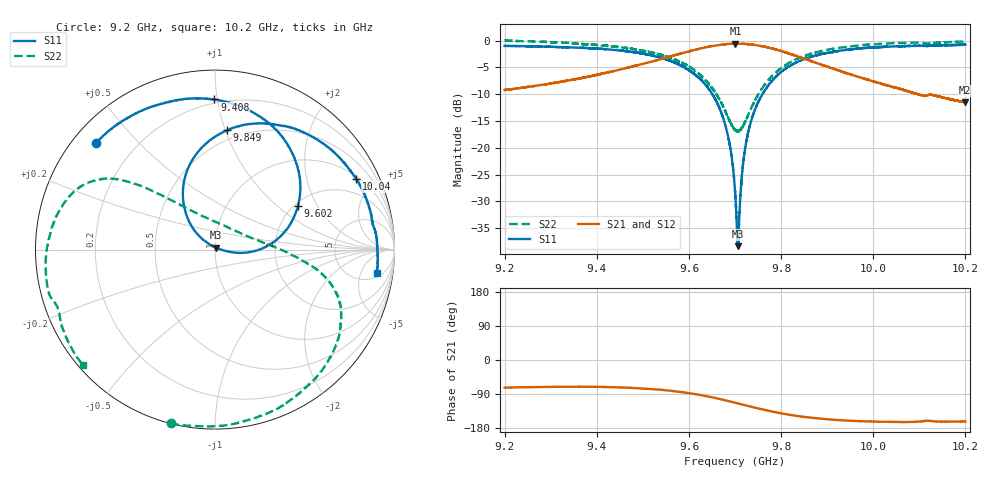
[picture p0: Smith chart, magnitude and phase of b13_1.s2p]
!Agilent Technologies,N5242A,MY51221714,A.09.90.19
!Agilent N5242A: A.09.90.19
!Date: Tuesday, March 26, 2024 16:48:23
!Correction: S11(Full 2 Port(1,2))
!S21(Full 2 Port(1,2))
!S12(Full 2 Port(1,2))
!S22(Full 2 Port(1,2))
!S2P File: Measurements: S11, S21, S12, S22:
# Hz S  dB  R 50
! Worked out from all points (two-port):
!   16001 points, 9.2 GHz to 10.2 GHz, reference 50 ohm
!   highest |S21| = -0.57 dB at 9.701 GHz (marker M1); lowest = -11.5 dB at 10.2 GHz (marker M2)
!   |S21| within 3 dB of the highest: 9.534092 GHz to 9.53417 GHz (78.29 kHz wide, 0.000821 % of centre); 9.534 GHz to 9.857 GHz (322.4 MHz wide, 3.32 % of centre)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
!   lowest |S11| = -38.4 dB at 9.706 GHz (marker M3), VSWR 1.02, Z = 50.4 + j1.13 ohm
!   |S11| at or under -10 dB: 9.650685 GHz to 9.650772 GHz (87.65 kHz wide, 0.000908 % of centre); 9.651 GHz to 9.76 GHz (108.7 MHz wide, 1.12 % of centre)
!   |S22| runs from -17.0 to 0.0 dB; largest |S21 - S12| = 0.012
!   S11 on the Smith chart (normalised r, x): 9.2 GHz: 0.07, +0.38; 9.408 GHz: 0.18, +0.98; 9.602 GHz: 2.09, +1.40; 9.849 GHz: 0.42, +1.01; 10.04 GHz: 1.14, +3.92; 10.2 GHz: 6, -10
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9.2e9  -1.01 138.1  -9.23 -73.0  -9.21 -73.7  -0.01 -104.3
9.277188e9  -1.13 121.4  -8.31 -71.2  -8.31 -71.8  -0.21 -83.3
9.366688e9  -1.36 100.7  -7.00 -70.6  -6.99 -71.2  -0.65 -60.0
9.408375e9  -1.55 90.2  -6.24 -71.1  -6.23 -71.8  -0.90 -49.6
9.533375e9  -3.10 53.5  -3.60 -78.0  -3.59 -78.6  -2.52 -22.2
9.602e9  -5.64 27.7  -1.98 -87.8  -1.98 -88.4  -4.94 -10.5
9.64275e9  -8.99 9.9  -1.15 -96.6  -1.16 -97.2  -8.07 -1.9
9.670812e9  -13.61 -2.9  -0.77 -104.0  -0.76 -104.6  -11.73 9.8
9.689438e9  -19.84 -8.6  -0.61 -109.5  -0.61 -110.0  -15.18 30.2
9.7e9  -27.95 -3.2  -0.59 -112.6  -0.57 -113.2  -16.60 51.8
9.700938e9  -29.39 -0.3  -0.57 -112.9  -0.57 -113.5  -16.75 54.5
9.706375e9  -38.36 68.0  -0.59 -114.7  -0.57 -115.2  -16.90 67.4
9.722e9  -20.09 139.8  -0.64 -119.4  -0.62 -120.0  -15.18 101.4
9.744312e9  -12.70 131.0  -0.86 -126.1  -0.84 -126.7  -11.00 124.5
9.787375e9  -6.86 110.8  -1.64 -137.7  -1.65 -138.3  -6.04 137.6
9.84925e9  -3.50 84.4  -3.34 -150.0  -3.35 -150.6  -2.92 146.4
9.866688e9  -2.99 77.7  -3.87 -152.6  -3.88 -153.1  -2.42 148.9
9.935375e9  -1.82 54.9  -5.89 -159.4  -5.90 -160.0  -1.25 160.3
1.003338e10  -1.15 28.5  -8.45 -163.2  -8.45 -163.8  -0.56 -179.4
1.004112e10  -1.12 26.6  -8.63 -163.3  -8.62 -163.9  -0.51 -177.6
1.019975e10  -0.81 -8.1  -11.54 -162.2  -11.52 -162.9  -0.20 -138.8
1.02e10  -0.79 -8.2  -11.51 -162.2  -11.52 -162.8  -0.20 -138.7
